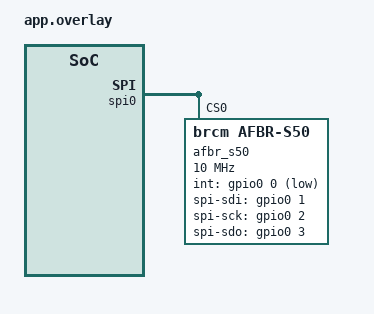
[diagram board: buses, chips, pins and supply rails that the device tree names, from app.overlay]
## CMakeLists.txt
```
# Copyright The Zephyr Project Contributors
# SPDX-License-Identifier: Apache-2.0

cmake_minimum_required(VERSION 3.28.0)
find_package(Zephyr REQUIRED HINTS $ENV{ZEPHYR_BASE})
project(afbr_s50)

# The driver needs the Argus library, which is only available for Cortex-M:
# build its decoder alone, with the Argus API headers of the hal_afbr module.
set(AFBR_S50_DIR ${ZEPHYR_BASE}/drivers/sensor/broadcom/afbr_s50)

target_include_directories(app PRIVATE
  ${AFBR_S50_DIR}
  ${ZEPHYR_HAL_AFBR_MODULE_DIR}/AFBR-S50/Include
)
target_sources(app PRIVATE
  src/main.c
  ${AFBR_S50_DIR}/afbr_s50_decoder.c
)
```

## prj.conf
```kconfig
# Copyright The Zephyr Project Contributors
# SPDX-License-Identifier: Apache-2.0

CONFIG_ZTEST=y
CONFIG_SENSOR=y
CONFIG_SENSOR_ASYNC_API=y
# The driver needs the Argus library, only its decoder is built
CONFIG_AFBR_S50=n
```

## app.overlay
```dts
/*
 * Copyright The Zephyr Project Contributors
 *
 * SPDX-License-Identifier: Apache-2.0
 */

#include <zephyr/dt-bindings/gpio/gpio.h>
#include <zephyr/dt-bindings/sensor/afbr_s50.h>

&spi0 {
	afbr_s50: afbr_s50@0 {
		compatible = "brcm,afbr-s50";
		reg = <0>;
		spi-max-frequency = <10000000>;
		measurement-mode = <AFBR_S50_DT_MODE_SHORT_RANGE>;
		dual-freq-mode = <AFBR_S50_DT_DFM_MODE_OFF>;
		odr = <10>;
		int-gpios = <&gpio0 0 (GPIO_ACTIVE_LOW | GPIO_PULL_UP)>;
		spi-sdi-gpios = <&gpio0 1 GPIO_ACTIVE_HIGH>;
		spi-sck-gpios = <&gpio0 2 GPIO_ACTIVE_HIGH>;
		spi-sdo-gpios = <&gpio0 3 GPIO_ACTIVE_HIGH>;
	};
};
```

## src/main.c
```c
/*
 * Copyright The Zephyr Project Contributors
 *
 * SPDX-License-Identifier: Apache-2.0
 */

#include <string.h>

#include <zephyr/drivers/sensor.h>
#include <zephyr/drivers/sensor/afbr_s50.h>
#include <zephyr/ztest.h>

#include "afbr_s50_decoder.h"

#define NUM_PIXELS 32U

/* Allowed error of a decoded range, in micrometers */
#define TOLERANCE_UM 2

#define TIMESTAMP_NS 123456789012ULL

/* Invalid pixels: overflowing amplitude and saturated */
#define PIXEL_OVERFLOW  3U
#define PIXEL_SATURATED 17U

static const struct sensor_decoder_api *decoder = SENSOR_DECODER_DT_GET(DT_NODELABEL(afbr_s50));

static const struct sensor_chan_spec chan_distance = {SENSOR_CHAN_DISTANCE, 0};
static const struct sensor_chan_spec chan_pixels = {SENSOR_CHAN_AFBR_S50_PIXELS, 0};

static struct afbr_s50_edata edata;

static uint8_t out_buf[sizeof(struct sensor_q31_data) +
		       (NUM_PIXELS - 1U) * sizeof(struct sensor_q31_sample_data)] __aligned(8);

/* Range values are Q9.22, in meters */
static int32_t um_to_q9_22(int64_t um)
{
	return (int32_t)(um * (1 << 22) / 1000000);
}

static int64_t q31_to_um(q31_t value, int8_t shift)
{
	return ((int64_t)value * 1000000) >> (31 - shift);
}

/* Range of pixel n: 0.25 m + n * 12.5 cm */
static int64_t pixel_um(uint32_t n)
{
	return 250000 + (int64_t)n * 125000;
}

static bool pixel_is_valid(uint32_t n)
{
	return n != PIXEL_OVERFLOW && n != PIXEL_SATURATED;
}

static void check_range(q31_t value, int8_t shift, int64_t expected_um)
{
	int64_t actual = q31_to_um(value, shift);

	zassert_equal(shift, 9);
	zassert_within(actual, expected_um, TOLERANCE_UM, "got %lld um, expected %lld um", actual,
		       expected_um);
}

static void check_pixel(const struct sensor_q31_data *out, uint32_t reading, uint32_t pixel)
{
	zassert_equal(out->readings[reading].timestamp_delta, 0U);

	if (pixel_is_valid(pixel)) {
		check_range(out->readings[reading].value, out->shift, pixel_um(pixel));
	} else {
		zassert_equal(out->readings[reading].value, (q31_t)AFBR_PIXEL_INVALID_VALUE,
			      "pixel %u", pixel);
	}
}

static void afbr_s50_before(void *fixture)
{
	ARG_UNUSED(fixture);

	memset(&edata, 0, sizeof(edata));
	memset(out_buf, 0xAA, sizeof(out_buf));

	edata.header.timestamp = TIMESTAMP_NS;
	edata.header.channels = afbr_s50_encode_channel(SENSOR_CHAN_DISTANCE) |
				afbr_s50_encode_channel(SENSOR_CHAN_AFBR_S50_PIXELS);
	edata.payload.Bin.Range = um_to_q9_22(1234500);

	for (uint32_t i = 0U; i < NUM_PIXELS; i++) {
		edata.payload.Pixels[i].Range = um_to_q9_22(pixel_um(i));
		edata.payload.Pixels[i].Amplitude = 100U;
		edata.payload.Pixels[i].Status = PIXEL_OK;
	}

	edata.payload.Pixels[PIXEL_OVERFLOW].Amplitude = 0xFFFFU;
	edata.payload.Pixels[PIXEL_SATURATED].Status = PIXEL_SAT;
}

ZTEST(afbr_s50_decoder, test_size_info)
{
	size_t base_size;
	size_t frame_size;

	zassert_ok(decoder->get_size_info(chan_distance, &base_size, &frame_size));
	zassert_equal(base_size, sizeof(struct sensor_q31_data));
	zassert_equal(frame_size, sizeof(struct sensor_q31_sample_data));

	/* One reading per pixel */
	zassert_ok(decoder->get_size_info(chan_pixels, &base_size, &frame_size));
	zassert_equal(base_size, sizeof(struct sensor_q31_data));
	zassert_equal(frame_size, sizeof(struct sensor_q31_sample_data));
	zassert_equal(base_size + (NUM_PIXELS - 1U) * frame_size, sizeof(out_buf));
}

ZTEST(afbr_s50_decoder, test_distance)
{
	const uint8_t *buffer = (const uint8_t *)&edata;
	struct sensor_q31_data *out = (struct sensor_q31_data *)out_buf;
	uint16_t frame_count;
	uint32_t fit = 0;

	zassert_ok(decoder->get_frame_count(buffer, chan_distance, &frame_count));
	zassert_equal(frame_count, 1U);

	zassert_equal(decoder->decode(buffer, chan_distance, &fit, 0, out), 0);
	zassert_equal(fit, 0U);

	zassert_equal(decoder->decode(buffer, chan_distance, &fit, NUM_PIXELS, out), 1);
	zassert_equal(out->header.reading_count, 1U);
	zassert_equal(out->header.base_timestamp_ns, TIMESTAMP_NS);
	zassert_equal(out->readings[0].timestamp_delta, 0U);
	check_range(out->readings[0].value, out->shift, 1234500);

	zassert_equal(decoder->decode(buffer, chan_distance, &fit, 1, out), 0);
}

ZTEST(afbr_s50_decoder, test_distance_limits)
{
	const uint8_t *buffer = (const uint8_t *)&edata;
	struct sensor_q31_data *out = (struct sensor_q31_data *)out_buf;
	uint32_t fit = 0;

	/* Q9.22 values are copied unchanged, the maximum range included */
	edata.payload.Bin.Range = INT32_MAX;
	zassert_equal(decoder->decode(buffer, chan_distance, &fit, 1, out), 1);
	zassert_equal(out->readings[0].value, INT32_MAX);
	zassert_equal(out->shift, 9);

	fit = 0;
	edata.payload.Bin.Range = um_to_q9_22(-500000);
	zassert_equal(decoder->decode(buffer, chan_distance, &fit, 1, out), 1);
	check_range(out->readings[0].value, out->shift, -500000);
}

ZTEST(afbr_s50_decoder, test_pixels_all)
{
	const uint8_t *buffer = (const uint8_t *)&edata;
	struct sensor_q31_data *out = (struct sensor_q31_data *)out_buf;
	uint16_t frame_count;
	uint32_t fit = 0;

	zassert_ok(decoder->get_frame_count(buffer, chan_pixels, &frame_count));
	zassert_equal(frame_count, NUM_PIXELS);

	zassert_equal(decoder->decode(buffer, chan_pixels, &fit, frame_count, out), NUM_PIXELS);
	zassert_equal(out->header.reading_count, NUM_PIXELS);
	zassert_equal(out->header.base_timestamp_ns, TIMESTAMP_NS);

	for (uint32_t i = 0U; i < NUM_PIXELS; i++) {
		check_pixel(out, i, i);
	}

	zassert_equal(decoder->decode(buffer, chan_pixels, &fit, frame_count, out), 0);
}

ZTEST(afbr_s50_decoder, test_pixels_one_by_one)
{
	const uint8_t *buffer = (const uint8_t *)&edata;
	struct sensor_q31_data *out = (struct sensor_q31_data *)out_buf;
	uint32_t fit = 0;

	for (uint32_t i = 0U; i < NUM_PIXELS; i++) {
		zassert_equal(decoder->decode(buffer, chan_pixels, &fit, 1, out), 1, "pixel %u", i);
		zassert_equal(out->header.reading_count, 1U);
		zassert_equal(out->header.base_timestamp_ns, TIMESTAMP_NS);
		check_pixel(out, 0U, i);
	}

	zassert_equal(decoder->decode(buffer, chan_pixels, &fit, 1, out), 0);
}

ZTEST(afbr_s50_decoder, test_pixels_in_batches)
{
	const uint8_t *buffer = (const uint8_t *)&edata;
	struct sensor_q31_data *out = (struct sensor_q31_data *)out_buf;
	uint32_t fit = 0;

	zassert_equal(decoder->decode(buffer, chan_pixels, &fit, 20, out), 20);
	for (uint32_t i = 0U; i < 20U; i++) {
		check_pixel(out, i, i);
	}

	zassert_equal(decoder->decode(buffer, chan_pixels, &fit, 20, out), NUM_PIXELS - 20U);
	zassert_equal(out->header.base_timestamp_ns, TIMESTAMP_NS);
	for (uint32_t i = 20U; i < NUM_PIXELS; i++) {
		check_pixel(out, i - 20U, i);
	}

	zassert_equal(decoder->decode(buffer, chan_pixels, &fit, 20, out), 0);
}

ZTEST(afbr_s50_decoder, test_channel_absent)
{
	const uint8_t *buffer = (const uint8_t *)&edata;
	struct sensor_q31_data *out = (struct sensor_q31_data *)out_buf;
	uint16_t frame_count;
	uint32_t fit = 0;

	edata.header.channels = afbr_s50_encode_channel(SENSOR_CHAN_DISTANCE);

	zassert_ok(decoder->get_frame_count(buffer, chan_pixels, &frame_count));
	zassert_equal(frame_count, 0U);
	zassert_equal(decoder->decode(buffer, chan_pixels, &fit, NUM_PIXELS, out), -ENODATA);

	zassert_ok(decoder->get_frame_count(buffer, chan_distance, &frame_count));
	zassert_equal(frame_count, 1U);

	edata.header.channels = afbr_s50_encode_channel(SENSOR_CHAN_AFBR_S50_PIXELS);

	zassert_ok(decoder->get_frame_count(buffer, chan_distance, &frame_count));
	zassert_equal(frame_count, 0U);
	fit = 0;
	zassert_equal(decoder->decode(buffer, chan_distance, &fit, 1, out), -ENODATA);
}

static void check_unsupported(struct sensor_chan_spec chan)
{
	const uint8_t *buffer = (const uint8_t *)&edata;
	uint16_t frame_count;
	uint32_t fit = 0;

	zassert_equal(decoder->get_frame_count(buffer, chan, &frame_count), -ENOTSUP,
		      "channel %u:%u", chan.chan_type, chan.chan_idx);
	zassert_equal(decoder->decode(buffer, chan, &fit, 1, out_buf), -ENOTSUP, "channel %u:%u",
		      chan.chan_type, chan.chan_idx);
}

ZTEST(afbr_s50_decoder, test_unsupported)
{
	static const uint16_t types[] = {
		SENSOR_CHAN_ACCEL_XYZ,
		SENSOR_CHAN_PROX,
		SENSOR_CHAN_PRIV_START,
	};

	for (size_t i = 0; i < ARRAY_SIZE(types); i++) {
		struct sensor_chan_spec chan = {types[i], 0};
		size_t base_size;
		size_t frame_size;

		zassert_equal(decoder->get_size_info(chan, &base_size, &frame_size), -ENOTSUP,
			      "channel %u", types[i]);
		check_unsupported(chan);
	}

	/* Only index 0 exists */
	check_unsupported((struct sensor_chan_spec){SENSOR_CHAN_DISTANCE, 1});
	check_unsupported((struct sensor_chan_spec){SENSOR_CHAN_AFBR_S50_PIXELS, 1});
}

ZTEST(afbr_s50_decoder, test_has_trigger)
{
	const uint8_t *buffer = (const uint8_t *)&edata;

	zassert_false(decoder->has_trigger(buffer, SENSOR_TRIG_DATA_READY));

	edata.header.events = afbr_s50_encode_event(SENSOR_TRIG_DATA_READY);
	zassert_true(decoder->has_trigger(buffer, SENSOR_TRIG_DATA_READY));
	zassert_false(decoder->has_trigger(buffer, SENSOR_TRIG_FIFO_WATERMARK));
	zassert_false(decoder->has_trigger(buffer, SENSOR_TRIG_THRESHOLD));
}

ZTEST_SUITE(afbr_s50_decoder, NULL, NULL, afbr_s50_before, NULL, NULL);
```
